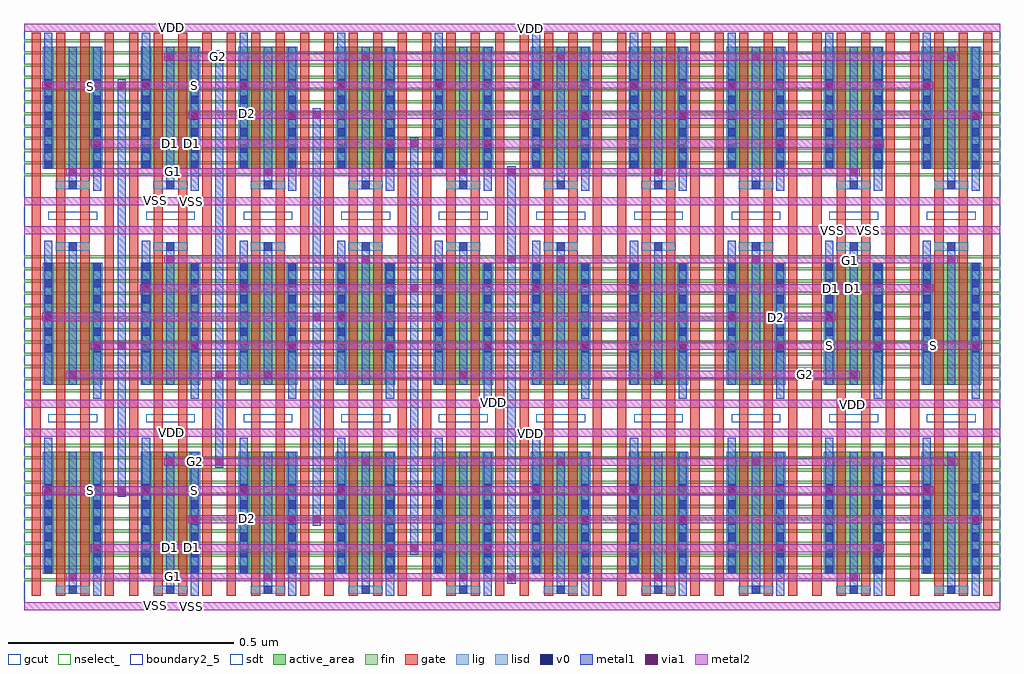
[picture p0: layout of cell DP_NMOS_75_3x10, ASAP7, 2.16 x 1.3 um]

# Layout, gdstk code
from math import pi, radians
import gdstk
lib = gdstk.Library(unit=1e-6, precision=2.5e-10)
def R(c, l, rs):  # rectangles x0, y0, x1, y1
    for r in rs: c.add(gdstk.rectangle(r[:2], r[2:], *l))
def A(c, l, x, y, w, h, nx, ny, dx, dy):  # array of equal rectangles
    R(c, l, [(x+i*dx, y+j*dy, x+i*dx+w, y+j*dy+h) for i in range(nx) for j in range(ny)])
fin = (2, 0)
gate = (7, 0)
gcut = (10, 0)
active_area = (11, 0)
nselect_ = (12, 0)
lig = (16, 0)
lisd = (17, 0)
v0 = (18, 0)
metal1 = (19, 0)
metal2 = (20, 0)
via1 = (21, 0)
sdt = (88, 0)
boundary2_5 = (235, 5)

m2_m1_cdns_543799420730 = lib.new_cell('M2_M1_CDNS_543799420730')
R(m2_m1_cdns_543799420730, metal1, [(-0.009,-0.014,0.009,0.014)])
R(m2_m1_cdns_543799420730, metal2, [(-0.014,-0.009,0.014,0.009)])
R(m2_m1_cdns_543799420730, via1, [(-0.009,-0.009,0.009,0.009)])

dp_nmos_75_3x10 = lib.new_cell('DP_NMOS_75_3x10')
A(dp_nmos_75_3x10, fin, 0, 0.064, 0.216, 0.007, 10, 9, 0.216, 0.027)
A(dp_nmos_75_3x10, fin, 0, 0.361, 0.216, 0.007, 10, 2, 0.216, 0.121)
A(dp_nmos_75_3x10, fin, 0, 0.563, 0.216, 0.007, 10, 9, 0.216, 0.027)
A(dp_nmos_75_3x10, fin, 0, 0.96, 0.216, 0.007, 10, 9, 0.216, 0.027)
A(dp_nmos_75_3x10, fin, 0, 1.257, 0.216, 0.007, 10, 1, 0.216, 0)
R(dp_nmos_75_3x10, fin, [(0,0.307,0.216,0.314), (0,0.307,0.216,0.314), (0.216,0.307,0.432,0.314), (0.216,0.307,0.432,0.314), (0.432,0.307,0.648,0.314), (0.432,0.307,0.648,0.314), (0.648,0.307,0.864,0.314), (0.648,0.307,0.864,0.314), (0.864,0.307,1.08,0.314), (0.864,0.307,1.08,0.314), (1.08,0.307,1.296,0.314), (1.08,0.307,1.296,0.314), (1.296,0.307,1.512,0.314), (1.296,0.307,1.512,0.314), (1.512,0.307,1.728,0.314), (1.512,0.307,1.728,0.314), (1.728,0.307,1.944,0.314), (1.728,0.307,1.944,0.314), (1.944,0.307,2.16,0.314), (1.944,0.307,2.16,0.314), (0,0.334,0.216,0.341), (0,0.334,0.216,0.341), (0.216,0.334,0.432,0.341), (0.216,0.334,0.432,0.341), (0.432,0.334,0.648,0.341), (0.432,0.334,0.648,0.341), (0.648,0.334,0.864,0.341), (0.648,0.334,0.864,0.341), (0.864,0.334,1.08,0.341), (0.864,0.334,1.08,0.341), (1.08,0.334,1.296,0.341), (1.08,0.334,1.296,0.341), (1.296,0.334,1.512,0.341), (1.296,0.334,1.512,0.341), (1.512,0.334,1.728,0.341), (1.512,0.334,1.728,0.341), (1.728,0.334,1.944,0.341), (1.728,0.334,1.944,0.341), (1.944,0.334,2.16,0.341), (1.944,0.334,2.16,0.341), (0,0.509,0.216,0.516), (0,0.509,0.216,0.516), (0.216,0.509,0.432,0.516), (0.216,0.509,0.432,0.516), (0.432,0.509,0.648,0.516), (0.432,0.509,0.648,0.516), (0.648,0.509,0.864,0.516), (0.648,0.509,0.864,0.516), (0.864,0.509,1.08,0.516), (0.864,0.509,1.08,0.516), (1.08,0.509,1.296,0.516), (1.08,0.509,1.296,0.516), (1.296,0.509,1.512,0.516), (1.296,0.509,1.512,0.516), (1.512,0.509,1.728,0.516), (1.512,0.509,1.728,0.516), (1.728,0.509,1.944,0.516), (1.728,0.509,1.944,0.516), (1.944,0.509,2.16,0.516), (1.944,0.509,2.16,0.516), (0,0.536,0.216,0.543), (0,0.536,0.216,0.543), (0.216,0.536,0.432,0.543), (0.216,0.536,0.432,0.543), (0.432,0.536,0.648,0.543), (0.432,0.536,0.648,0.543), (0.648,0.536,0.864,0.543), (0.648,0.536,0.864,0.543), (0.864,0.536,1.08,0.543), (0.864,0.536,1.08,0.543), (1.08,0.536,1.296,0.543), (1.08,0.536,1.296,0.543), (1.296,0.536,1.512,0.543), (1.296,0.536,1.512,0.543), (1.512,0.536,1.728,0.543), (1.512,0.536,1.728,0.543), (1.728,0.536,1.944,0.543), (1.728,0.536,1.944,0.543), (1.944,0.536,2.16,0.543), (1.944,0.536,2.16,0.543), (0,1.203,0.216,1.21), (0,1.203,0.216,1.21), (0.216,1.203,0.432,1.21), (0.216,1.203,0.432,1.21), (0.432,1.203,0.648,1.21), (0.432,1.203,0.648,1.21), (0.648,1.203,0.864,1.21), (0.648,1.203,0.864,1.21), (0.864,1.203,1.08,1.21), (0.864,1.203,1.08,1.21), (1.08,1.203,1.296,1.21), (1.08,1.203,1.296,1.21), (1.296,1.203,1.512,1.21), (1.296,1.203,1.512,1.21), (1.512,1.203,1.728,1.21), (1.512,1.203,1.728,1.21), (1.728,1.203,1.944,1.21), (1.728,1.203,1.944,1.21), (1.944,1.203,2.16,1.21), (1.944,1.203,2.16,1.21), (0,1.23,0.216,1.237), (0,1.23,0.216,1.237), (0.216,1.23,0.432,1.237), (0.216,1.23,0.432,1.237), (0.432,1.23,0.648,1.237), (0.432,1.23,0.648,1.237), (0.648,1.23,0.864,1.237), (0.648,1.23,0.864,1.237), (0.864,1.23,1.08,1.237), (0.864,1.23,1.08,1.237), (1.08,1.23,1.296,1.237), (1.08,1.23,1.296,1.237), (1.296,1.23,1.512,1.237), (1.296,1.23,1.512,1.237), (1.512,1.23,1.728,1.237), (1.512,1.23,1.728,1.237), (1.728,1.23,1.944,1.237), (1.728,1.23,1.944,1.237), (1.944,1.23,2.16,1.237), (1.944,1.23,2.16,1.237)])
A(dp_nmos_75_3x10, gate, 0.017, 0.032, 0.02, 0.436, 40, 1, 0.054, 0)
A(dp_nmos_75_3x10, gate, 0.017, 0.468, 0.02, 0.46, 3, 1, 0.054, 0)
A(dp_nmos_75_3x10, gate, 0.233, 0.468, 0.02, 0.46, 12, 1, 0.054, 0)
A(dp_nmos_75_3x10, gate, 1.097, 0.468, 0.02, 0.46, 4, 1, 0.054, 0)
A(dp_nmos_75_3x10, gate, 1.367, 0.468, 0.02, 0.46, 15, 1, 0.054, 0)
A(dp_nmos_75_3x10, gate, 0.017, 0.928, 0.02, 0.35, 40, 1, 0.054, 0)
R(dp_nmos_75_3x10, gate, [(0.179,0.468,0.199,0.932), (0.881,0.468,0.901,0.93), (0.935,0.468,0.955,0.928), (0.989,0.468,1.009,0.932), (1.043,0.468,1.063,0.932), (1.313,0.468,1.333,0.931)])
A(dp_nmos_75_3x10, gcut, 0.054, 0.416, 0.108, 0.018, 10, 2, 0.216, 0.448)
A(dp_nmos_75_3x10, active_area, 0.046, 0.081, 0.124, 0.27, 10, 2, 0.216, 0.418)
A(dp_nmos_75_3x10, active_area, 0.046, 0.977, 0.124, 0.27, 10, 1, 0.216, 0)
A(dp_nmos_75_3x10, nselect_, 0, 0, 0.216, 0.402, 10, 1, 0.216, 0)
A(dp_nmos_75_3x10, nselect_, 0, 0.402, 0.216, 0.448, 10, 2, 0.216, 0.448)
A(dp_nmos_75_3x10, lig, 0.07, 0.036, 0.076, 0.018, 10, 2, 0.216, 0.76)
A(dp_nmos_75_3x10, lig, 0.07, 0.932, 0.076, 0.018, 10, 1, 0.216, 0)
A(dp_nmos_75_3x10, lisd, 0.042, 0.081, 0.024, 0.27, 20, 2, 0.108, 0.418)
A(dp_nmos_75_3x10, lisd, 0.042, 0.977, 0.024, 0.27, 20, 1, 0.108, 0)
A(dp_nmos_75_3x10, v0, 0.099, 0.036, 0.018, 0.018, 10, 2, 0.216, 0.76)
A(dp_nmos_75_3x10, v0, 0.045, 0.081, 0.018, 0.018, 20, 6, 0.108, 0.036)
A(dp_nmos_75_3x10, v0, 0.045, 0.571, 0.018, 0.018, 20, 6, 0.108, 0.036)
A(dp_nmos_75_3x10, v0, 0.099, 0.932, 0.018, 0.018, 10, 1, 0.216, 0)
A(dp_nmos_75_3x10, v0, 0.045, 0.977, 0.018, 0.018, 20, 6, 0.108, 0.036)
A(dp_nmos_75_3x10, metal1, 0.153, 0.032, 0.018, 0.319, 10, 2, 0.216, 0.896)
A(dp_nmos_75_3x10, metal1, 0.099, 0.036, 0.018, 0.315, 10, 2, 0.216, 0.463)
A(dp_nmos_75_3x10, metal1, 0.045, 0.081, 0.018, 0.301, 10, 2, 0.216, 0.896)
A(dp_nmos_75_3x10, metal1, 0.153, 0.123, 0.018, 0.028, 3, 2, 0.864, 0.896)
A(dp_nmos_75_3x10, metal1, 0.153, 0.468, 0.018, 0.301, 10, 1, 0.216, 0)
A(dp_nmos_75_3x10, metal1, 0.045, 0.499, 0.018, 0.319, 10, 1, 0.216, 0)
A(dp_nmos_75_3x10, metal1, 0.261, 0.699, 0.018, 0.028, 3, 1, 0.864, 0)
A(dp_nmos_75_3x10, metal1, 0.099, 0.932, 0.018, 0.315, 10, 1, 0.216, 0)
R(dp_nmos_75_3x10, metal1, [(1.07,0.059,1.088,0.983), (0.855,0.123,0.873,1.047), (0.639,0.187,0.657,1.111), (0.207,0.251,0.225,1.175), (0.423,0.315,0.441,1.239)])
R(dp_nmos_75_3x10, metal2, [(0,0,2.16,0.018), (0,0,2.16,0.018), (0.094,0.064,1.85,0.082), (0.094,0.064,1.85,0.082), (0.148,0.128,1.904,0.146), (0.148,0.128,1.904,0.146), (0.148,0.128,0.176,0.146), (1.876,0.128,1.904,0.146), (0.364,0.192,2.12,0.21), (0.364,0.192,2.12,0.21), (0.04,0.256,2.012,0.274), (0.04,0.256,2.012,0.274), (0.31,0.32,2.066,0.338), (0.31,0.32,2.066,0.338), (0,0.384,2.16,0.402), (0,0.384,2.16,0.402), (0,0.448,2.16,0.466), (0,0.448,2.16,0.466), (0.094,0.512,1.85,0.53), (0.094,0.512,1.85,0.53), (0.148,0.576,2.12,0.594), (0.148,0.576,2.12,0.594), (0.04,0.64,1.796,0.658), (0.04,0.64,1.796,0.658), (0.256,0.704,2.012,0.722), (0.256,0.704,2.012,0.722), (0.256,0.704,0.284,0.722), (1.984,0.704,2.012,0.722), (0.31,0.768,2.066,0.786), (0.31,0.768,2.066,0.786), (0,0.832,2.16,0.85), (0,0.832,2.16,0.85), (0,0.896,2.16,0.914), (0,0.896,2.16,0.914), (0.094,0.96,1.85,0.978), (0.094,0.96,1.85,0.978), (0.148,1.024,1.904,1.042), (0.148,1.024,1.904,1.042), (0.148,1.024,0.176,1.042), (1.876,1.024,1.904,1.042), (0.364,1.088,2.12,1.106), (0.364,1.088,2.12,1.106), (0.04,1.152,2.012,1.17), (0.04,1.152,2.012,1.17), (0.31,1.216,2.066,1.234), (0.31,1.216,2.066,1.234), (0,1.28,2.16,1.298), (0,1.28,2.16,1.298)])
A(dp_nmos_75_3x10, via1, 0.153, 0.128, 0.018, 0.018, 3, 2, 0.864, 0.896)
A(dp_nmos_75_3x10, via1, 0.261, 0.704, 0.018, 0.018, 3, 1, 0.864, 0)
A(dp_nmos_75_3x10, sdt, 0.042, 0.081, 0.024, 0.27, 20, 2, 0.108, 0.418)
A(dp_nmos_75_3x10, sdt, 0.042, 0.977, 0.024, 0.27, 20, 1, 0.108, 0)
R(dp_nmos_75_3x10, boundary2_5, [(0,0,2.16,1.298)])
dp_nmos_75_3x10.add(gdstk.Reference(m2_m1_cdns_543799420730, (1.079,0.969)))
dp_nmos_75_3x10.add(gdstk.Reference(m2_m1_cdns_543799420730, (0.864,1.033)))
dp_nmos_75_3x10.add(gdstk.Reference(m2_m1_cdns_543799420730, (0.648,1.097)))
dp_nmos_75_3x10.add(gdstk.Reference(m2_m1_cdns_543799420730, (0.432,1.225)))
dp_nmos_75_3x10.add(gdstk.Reference(m2_m1_cdns_543799420730, (0.216,1.161)))
dp_nmos_75_3x10.add(gdstk.Reference(m2_m1_cdns_543799420730, (1.079,0.777)))
dp_nmos_75_3x10.add(gdstk.Reference(m2_m1_cdns_543799420730, (1.079,0.073)))
dp_nmos_75_3x10.add(gdstk.Reference(m2_m1_cdns_543799420730, (0.864,0.713)))
dp_nmos_75_3x10.add(gdstk.Reference(m2_m1_cdns_543799420730, (0.864,0.137)))
dp_nmos_75_3x10.add(gdstk.Reference(m2_m1_cdns_543799420730, (0.648,0.649)))
dp_nmos_75_3x10.add(gdstk.Reference(m2_m1_cdns_543799420730, (0.648,0.201)))
dp_nmos_75_3x10.add(gdstk.Reference(m2_m1_cdns_543799420730, (0.432,0.521)))
dp_nmos_75_3x10.add(gdstk.Reference(m2_m1_cdns_543799420730, (0.432,0.329)))
dp_nmos_75_3x10.add(gdstk.Reference(m2_m1_cdns_543799420730, (0.216,0.265)))
dp_nmos_75_3x10.add(gdstk.Reference(m2_m1_cdns_543799420730, (0.216,0.585)))
dp_nmos_75_3x10.add(gdstk.Reference(m2_m1_cdns_543799420730, (2.106,1.097)))
dp_nmos_75_3x10.add(gdstk.Reference(m2_m1_cdns_543799420730, (1.782,1.161)))
dp_nmos_75_3x10.add(gdstk.Reference(m2_m1_cdns_543799420730, (1.674,1.033)))
dp_nmos_75_3x10.add(gdstk.Reference(m2_m1_cdns_543799420730, (1.566,1.161)))
dp_nmos_75_3x10.add(gdstk.Reference(m2_m1_cdns_543799420730, (1.458,1.097)))
dp_nmos_75_3x10.add(gdstk.Reference(m2_m1_cdns_543799420730, (1.242,1.097)))
dp_nmos_75_3x10.add(gdstk.Reference(m2_m1_cdns_543799420730, (0.918,1.161)))
dp_nmos_75_3x10.add(gdstk.Reference(m2_m1_cdns_543799420730, (0.81,1.033)))
dp_nmos_75_3x10.add(gdstk.Reference(m2_m1_cdns_543799420730, (0.702,1.161)))
dp_nmos_75_3x10.add(gdstk.Reference(m2_m1_cdns_543799420730, (0.594,1.097)))
dp_nmos_75_3x10.add(gdstk.Reference(m2_m1_cdns_543799420730, (0.378,1.097)))
dp_nmos_75_3x10.add(gdstk.Reference(m2_m1_cdns_543799420730, (0.054,1.161)))
dp_nmos_75_3x10.add(gdstk.Reference(m2_m1_cdns_543799420730, (0.486,1.161)))
dp_nmos_75_3x10.add(gdstk.Reference(m2_m1_cdns_543799420730, (1.134,1.161)))
dp_nmos_75_3x10.add(gdstk.Reference(m2_m1_cdns_543799420730, (1.35,1.161)))
dp_nmos_75_3x10.add(gdstk.Reference(m2_m1_cdns_543799420730, (1.998,1.161)))
dp_nmos_75_3x10.add(gdstk.Reference(m2_m1_cdns_543799420730, (0.324,1.225), x_reflection=True))
dp_nmos_75_3x10.add(gdstk.Reference(m2_m1_cdns_543799420730, (0.756,1.225), x_reflection=True))
dp_nmos_75_3x10.add(gdstk.Reference(m2_m1_cdns_543799420730, (1.188,1.225), x_reflection=True))
dp_nmos_75_3x10.add(gdstk.Reference(m2_m1_cdns_543799420730, (1.62,1.225), x_reflection=True))
dp_nmos_75_3x10.add(gdstk.Reference(m2_m1_cdns_543799420730, (2.052,1.225), x_reflection=True))
dp_nmos_75_3x10.add(gdstk.Reference(m2_m1_cdns_543799420730, (1.836,0.969), x_reflection=True))
dp_nmos_75_3x10.add(gdstk.Reference(m2_m1_cdns_543799420730, (1.404,0.969), x_reflection=True))
dp_nmos_75_3x10.add(gdstk.Reference(m2_m1_cdns_543799420730, (0.972,0.969), x_reflection=True))
dp_nmos_75_3x10.add(gdstk.Reference(m2_m1_cdns_543799420730, (0.54,0.969), x_reflection=True))
dp_nmos_75_3x10.add(gdstk.Reference(m2_m1_cdns_543799420730, (0.108,0.969), x_reflection=True))
dp_nmos_75_3x10.add(gdstk.Reference(m2_m1_cdns_543799420730, (0.27,1.161)))
dp_nmos_75_3x10.add(gdstk.Reference(m2_m1_cdns_543799420730, (2.052,0.777), rotation=pi, x_reflection=True))
dp_nmos_75_3x10.add(gdstk.Reference(m2_m1_cdns_543799420730, (1.62,0.777), rotation=pi, x_reflection=True))
dp_nmos_75_3x10.add(gdstk.Reference(m2_m1_cdns_543799420730, (1.188,0.777), rotation=pi, x_reflection=True))
dp_nmos_75_3x10.add(gdstk.Reference(m2_m1_cdns_543799420730, (0.756,0.777), rotation=pi, x_reflection=True))
dp_nmos_75_3x10.add(gdstk.Reference(m2_m1_cdns_543799420730, (0.324,0.777), rotation=pi, x_reflection=True))
dp_nmos_75_3x10.add(gdstk.Reference(m2_m1_cdns_543799420730, (0.054,0.649), rotation=pi))
dp_nmos_75_3x10.add(gdstk.Reference(m2_m1_cdns_543799420730, (0.108,0.521), rotation=pi, x_reflection=True))
dp_nmos_75_3x10.add(gdstk.Reference(m2_m1_cdns_543799420730, (0.162,0.585), rotation=pi))
dp_nmos_75_3x10.add(gdstk.Reference(m2_m1_cdns_543799420730, (0.378,0.585), rotation=pi))
dp_nmos_75_3x10.add(gdstk.Reference(m2_m1_cdns_543799420730, (0.486,0.713), rotation=pi))
dp_nmos_75_3x10.add(gdstk.Reference(m2_m1_cdns_543799420730, (0.54,0.521), rotation=pi, x_reflection=True))
dp_nmos_75_3x10.add(gdstk.Reference(m2_m1_cdns_543799420730, (0.594,0.585), rotation=pi))
dp_nmos_75_3x10.add(gdstk.Reference(m2_m1_cdns_543799420730, (0.702,0.649), rotation=pi))
dp_nmos_75_3x10.add(gdstk.Reference(m2_m1_cdns_543799420730, (0.81,0.585), rotation=pi))
dp_nmos_75_3x10.add(gdstk.Reference(m2_m1_cdns_543799420730, (0.918,0.649), rotation=pi))
dp_nmos_75_3x10.add(gdstk.Reference(m2_m1_cdns_543799420730, (0.972,0.521), rotation=pi, x_reflection=True))
dp_nmos_75_3x10.add(gdstk.Reference(m2_m1_cdns_543799420730, (1.026,0.585), rotation=pi))
dp_nmos_75_3x10.add(gdstk.Reference(m2_m1_cdns_543799420730, (0.108,0.073), x_reflection=True))
dp_nmos_75_3x10.add(gdstk.Reference(m2_m1_cdns_543799420730, (1.242,0.585), rotation=pi))
dp_nmos_75_3x10.add(gdstk.Reference(m2_m1_cdns_543799420730, (0.54,0.073), x_reflection=True))
dp_nmos_75_3x10.add(gdstk.Reference(m2_m1_cdns_543799420730, (1.782,0.649), rotation=pi))
dp_nmos_75_3x10.add(gdstk.Reference(m2_m1_cdns_543799420730, (0.972,0.073), x_reflection=True))
dp_nmos_75_3x10.add(gdstk.Reference(m2_m1_cdns_543799420730, (1.404,0.521), rotation=pi, x_reflection=True))
dp_nmos_75_3x10.add(gdstk.Reference(m2_m1_cdns_543799420730, (1.404,0.073), x_reflection=True))
dp_nmos_75_3x10.add(gdstk.Reference(m2_m1_cdns_543799420730, (1.458,0.585), rotation=pi))
dp_nmos_75_3x10.add(gdstk.Reference(m2_m1_cdns_543799420730, (1.836,0.073), x_reflection=True))
dp_nmos_75_3x10.add(gdstk.Reference(m2_m1_cdns_543799420730, (1.566,0.649), rotation=pi))
dp_nmos_75_3x10.add(gdstk.Reference(m2_m1_cdns_543799420730, (2.106,0.201)))
dp_nmos_75_3x10.add(gdstk.Reference(m2_m1_cdns_543799420730, (2.052,0.329), x_reflection=True))
dp_nmos_75_3x10.add(gdstk.Reference(m2_m1_cdns_543799420730, (1.998,0.265)))
dp_nmos_75_3x10.add(gdstk.Reference(m2_m1_cdns_543799420730, (1.35,0.713), rotation=pi))
dp_nmos_75_3x10.add(gdstk.Reference(m2_m1_cdns_543799420730, (1.782,0.265)))
dp_nmos_75_3x10.add(gdstk.Reference(m2_m1_cdns_543799420730, (1.674,0.137)))
dp_nmos_75_3x10.add(gdstk.Reference(m2_m1_cdns_543799420730, (1.62,0.329), x_reflection=True))
dp_nmos_75_3x10.add(gdstk.Reference(m2_m1_cdns_543799420730, (1.566,0.265)))
dp_nmos_75_3x10.add(gdstk.Reference(m2_m1_cdns_543799420730, (1.458,0.201)))
dp_nmos_75_3x10.add(gdstk.Reference(m2_m1_cdns_543799420730, (2.106,0.585), rotation=pi))
dp_nmos_75_3x10.add(gdstk.Reference(m2_m1_cdns_543799420730, (1.35,0.265)))
dp_nmos_75_3x10.add(gdstk.Reference(m2_m1_cdns_543799420730, (1.242,0.201)))
dp_nmos_75_3x10.add(gdstk.Reference(m2_m1_cdns_543799420730, (1.188,0.329), x_reflection=True))
dp_nmos_75_3x10.add(gdstk.Reference(m2_m1_cdns_543799420730, (1.134,0.265)))
dp_nmos_75_3x10.add(gdstk.Reference(m2_m1_cdns_543799420730, (1.836,0.521), rotation=pi, x_reflection=True))
dp_nmos_75_3x10.add(gdstk.Reference(m2_m1_cdns_543799420730, (0.918,0.265)))
dp_nmos_75_3x10.add(gdstk.Reference(m2_m1_cdns_543799420730, (0.486,0.265)))
dp_nmos_75_3x10.add(gdstk.Reference(m2_m1_cdns_543799420730, (0.27,0.265)))
dp_nmos_75_3x10.add(gdstk.Reference(m2_m1_cdns_543799420730, (0.378,0.201)))
dp_nmos_75_3x10.add(gdstk.Reference(m2_m1_cdns_543799420730, (1.674,0.585), rotation=pi))
dp_nmos_75_3x10.add(gdstk.Reference(m2_m1_cdns_543799420730, (0.324,0.329), x_reflection=True))
dp_nmos_75_3x10.add(gdstk.Reference(m2_m1_cdns_543799420730, (1.89,0.585), rotation=pi))
dp_nmos_75_3x10.add(gdstk.Reference(m2_m1_cdns_543799420730, (0.756,0.329), x_reflection=True))
dp_nmos_75_3x10.add(gdstk.Reference(m2_m1_cdns_543799420730, (0.054,0.265)))
dp_nmos_75_3x10.add(gdstk.Reference(m2_m1_cdns_543799420730, (0.702,0.265)))
dp_nmos_75_3x10.add(gdstk.Reference(m2_m1_cdns_543799420730, (0.81,0.137)))
dp_nmos_75_3x10.add(gdstk.Reference(m2_m1_cdns_543799420730, (0.594,0.201)))
dp_nmos_75_3x10.add(gdstk.Label('VDD', (1.121,1.287), layer=20, texttype=0))
dp_nmos_75_3x10.add(gdstk.Label('VDD', (0.326,1.29), layer=20, texttype=0))
dp_nmos_75_3x10.add(gdstk.Label('D2', (0.495,1.099), layer=20, texttype=0))
dp_nmos_75_3x10.add(gdstk.Label('D2', (0.486,1.097), layer=20, texttype=0))
dp_nmos_75_3x10.add(gdstk.Label('D1', (0.372,1.034), layer=20, texttype=0))
dp_nmos_75_3x10.add(gdstk.Label('D1', (0.324,1.034), layer=20, texttype=0))
dp_nmos_75_3x10.add(gdstk.Label('VSS', (0.292,0.906), layer=20, texttype=0))
dp_nmos_75_3x10.add(gdstk.Label('VSS', (0.37,0.905), layer=20, texttype=0))
dp_nmos_75_3x10.add(gdstk.Label('S', (0.378,1.161), layer=20, texttype=0))
dp_nmos_75_3x10.add(gdstk.Label('G1', (0.331,0.971), layer=20, texttype=0))
dp_nmos_75_3x10.add(gdstk.Label('G2', (0.431,1.225), layer=20, texttype=0))
dp_nmos_75_3x10.add(gdstk.Label('S', (0.147,1.16), layer=20, texttype=0))
dp_nmos_75_3x10.add(gdstk.Label('D1', (1.788,0.712), layer=20, texttype=0))
dp_nmos_75_3x10.add(gdstk.Label('D2', (1.665,0.647), layer=20, texttype=0))
dp_nmos_75_3x10.add(gdstk.Label('VDD', (1.834,0.456), layer=20, texttype=0))
dp_nmos_75_3x10.add(gdstk.Label('D2', (1.674,0.649), layer=20, texttype=0))
dp_nmos_75_3x10.add(gdstk.Label('S', (1.782,0.585), layer=20, texttype=0))
dp_nmos_75_3x10.add(gdstk.Label('S', (2.013,0.586), layer=20, texttype=0))
dp_nmos_75_3x10.add(gdstk.Label('D1', (1.836,0.712), layer=20, texttype=0))
dp_nmos_75_3x10.add(gdstk.Label('G2', (1.729,0.521), layer=20, texttype=0))
dp_nmos_75_3x10.add(gdstk.Label('VSS', (1.868,0.84), layer=20, texttype=0))
dp_nmos_75_3x10.add(gdstk.Label('VSS', (1.79,0.841), layer=20, texttype=0))
dp_nmos_75_3x10.add(gdstk.Label('VDD', (1.039,0.459), layer=20, texttype=0))
dp_nmos_75_3x10.add(gdstk.Label('G1', (1.829,0.775), layer=20, texttype=0))
dp_nmos_75_3x10.add(gdstk.Label('VDD', (1.121,0.391), layer=20, texttype=0))
dp_nmos_75_3x10.add(gdstk.Label('VSS', (0.37,0.009), layer=20, texttype=0))
dp_nmos_75_3x10.add(gdstk.Label('G2', (0.38,0.329), layer=20, texttype=0))
dp_nmos_75_3x10.add(gdstk.Label('D2', (0.495,0.203), layer=20, texttype=0))
dp_nmos_75_3x10.add(gdstk.Label('D1', (0.372,0.138), layer=20, texttype=0))
dp_nmos_75_3x10.add(gdstk.Label('VSS', (0.292,0.01), layer=20, texttype=0))
dp_nmos_75_3x10.add(gdstk.Label('D2', (0.486,0.201), layer=20, texttype=0))
dp_nmos_75_3x10.add(gdstk.Label('D1', (0.324,0.138), layer=20, texttype=0))
dp_nmos_75_3x10.add(gdstk.Label('G1', (0.331,0.075), layer=20, texttype=0))
dp_nmos_75_3x10.add(gdstk.Label('VDD', (0.326,0.394), layer=20, texttype=0))
dp_nmos_75_3x10.add(gdstk.Label('S', (0.147,0.264), layer=20, texttype=0))
dp_nmos_75_3x10.add(gdstk.Label('S', (0.378,0.265), layer=20, texttype=0))

lib.write_gds('DP_NMOS_75_3x10.gds')
